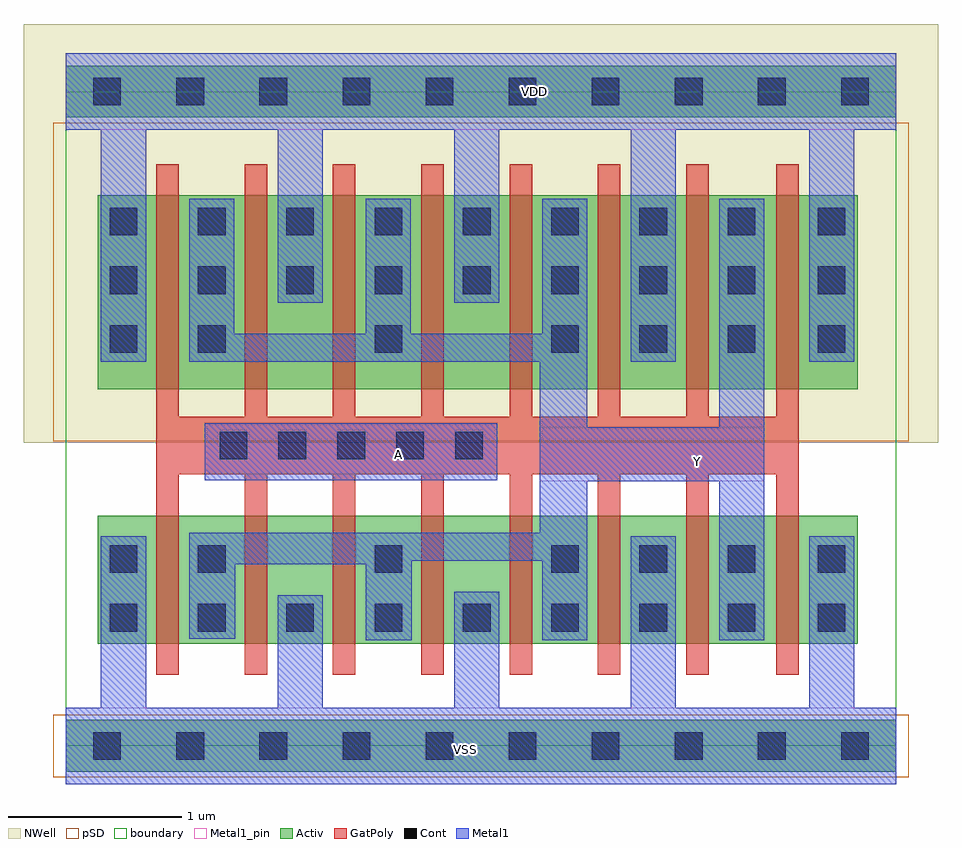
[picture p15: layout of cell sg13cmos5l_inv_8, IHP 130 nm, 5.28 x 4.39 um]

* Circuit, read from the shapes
.subckt sg13cmos5l_inv_8 A VDD VSS Y
XM1 Y A VSS VSS sg13_lv_nmos w=0.74u l=0.13u m=8
XM2 Y A VDD VDD sg13_lv_pmos w=1.12u l=0.13u m=8
.ends

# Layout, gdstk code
import gdstk
lib = gdstk.Library(unit=1e-6, precision=1e-09)
def R(c, l, rs):  # rectangles x0, y0, x1, y1
    for r in rs: c.add(gdstk.rectangle(r[:2], r[2:], *l))
def A(c, l, x, y, w, h, nx, ny, dx, dy):  # array of equal rectangles
    R(c, l, [(x+i*dx, y+j*dy, x+i*dx+w, y+j*dy+h) for i in range(nx) for j in range(ny)])
def P(c, l, *ps):  # polygons
    for p in ps: c.add(gdstk.Polygon(p, *l))
Activ = (1, 0)
GatPoly = (5, 0)
Cont = (6, 0)
Metal1 = (8, 0)
Metal1_pin = (8, 2)
pSD = (14, 0)
NWell = (31, 0)
boundary = (189, 4)

sg13cmos5l_inv_8 = lib.new_cell('sg13cmos5l_inv_8')
R(sg13cmos5l_inv_8, Activ, [(0,-0.15,4.8,0.15), (0.185,0.59,4.575,1.33), (0.185,2.06,4.575,3.18), (0,3.63,4.8,3.93)])
P(sg13cmos5l_inv_8, GatPoly, [(0.525,0.41),(0.525,3.36),(0.655,3.36),(0.655,1.9),(1.035,1.9),(1.035,3.36),(1.165,3.36),(1.165,1.9),(1.545,1.9),(1.545,3.36),(1.675,3.36),(1.675,1.9),(2.055,1.9),(2.055,3.36),(2.185,3.36),(2.185,1.9),(2.565,1.9),(2.565,3.36),(2.695,3.36),(2.695,1.9),(3.075,1.9),(3.075,3.36),(3.205,3.36),(3.205,1.9),(3.585,1.9),(3.585,3.36),(3.715,3.36),(3.715,1.9),(4.105,1.9),(4.105,3.36),(4.235,3.36),(4.235,0.41),(4.105,0.41),(4.105,1.57),(3.715,1.57),(3.715,0.41),(3.585,0.41),(3.585,1.57),(3.205,1.57),(3.205,0.41),(3.075,0.41),(3.075,1.57),(2.695,1.57),(2.695,0.41),(2.565,0.41),(2.565,1.57),(2.185,1.57),(2.185,0.41),(2.055,0.41),(2.055,1.57),(1.675,1.57),(1.675,0.41),(1.545,0.41),(1.545,1.57),(1.165,1.57),(1.165,0.41),(1.035,0.41),(1.035,1.57),(0.655,1.57),(0.655,0.41)])
A(sg13cmos5l_inv_8, Cont, 0.255, 0.66, 0.16, 0.16, 8, 2, 0.51, 1.95)
A(sg13cmos5l_inv_8, Cont, 0.765, 1, 0.16, 0.16, 3, 2, 1.02, 1.27)
A(sg13cmos5l_inv_8, Cont, 0.89, 1.655, 0.16, 0.16, 5, 1, 0.34, 0)
A(sg13cmos5l_inv_8, Cont, 4.345, 2.27, 0.16, 0.16, 1, 3, 0, 0.34)
A(sg13cmos5l_inv_8, Cont, 0.255, 2.95, 0.16, 0.16, 8, 1, 0.51, 0)
R(sg13cmos5l_inv_8, Cont, [(0.16,-0.08,0.32,0.08), (0.16,-0.08,0.32,0.08), (0.64,-0.08,0.8,0.08), (0.64,-0.08,0.8,0.08), (1.12,-0.08,1.28,0.08), (1.12,-0.08,1.28,0.08), (1.6,-0.08,1.76,0.08), (1.6,-0.08,1.76,0.08), (2.08,-0.08,2.24,0.08), (2.08,-0.08,2.24,0.08), (2.56,-0.08,2.72,0.08), (2.56,-0.08,2.72,0.08), (3.04,-0.08,3.2,0.08), (3.04,-0.08,3.2,0.08), (3.52,-0.08,3.68,0.08), (3.52,-0.08,3.68,0.08), (4,-0.08,4.16,0.08), (4,-0.08,4.16,0.08), (4.48,-0.08,4.64,0.08), (4.48,-0.08,4.64,0.08), (4.345,0.66,4.505,0.82), (0.255,1,0.415,1.16), (3.315,1,3.475,1.16), (3.825,1,3.985,1.16), (4.345,1,4.505,1.16), (0.255,2.27,0.415,2.43), (3.315,2.27,3.475,2.43), (3.825,2.27,3.985,2.43), (0.16,3.7,0.32,3.86), (0.16,3.7,0.32,3.86), (0.64,3.7,0.8,3.86), (0.64,3.7,0.8,3.86), (1.12,3.7,1.28,3.86), (1.12,3.7,1.28,3.86), (1.6,3.7,1.76,3.86), (1.6,3.7,1.76,3.86), (2.08,3.7,2.24,3.86), (2.08,3.7,2.24,3.86), (2.56,3.7,2.72,3.86), (2.56,3.7,2.72,3.86), (3.04,3.7,3.2,3.86), (3.04,3.7,3.2,3.86), (3.52,3.7,3.68,3.86), (3.52,3.7,3.68,3.86), (4,3.7,4.16,3.86), (4,3.7,4.16,3.86), (4.48,3.7,4.64,3.86), (4.48,3.7,4.64,3.86)])
R(sg13cmos5l_inv_8, Metal1, [(0.805,1.535,2.495,1.865)])
P(sg13cmos5l_inv_8, Metal1, [(0,-0.22),(0,0.22),(0.205,0.22),(0.205,1.21),(0.465,1.21),(0.465,0.22),(1.225,0.22),(1.225,0.87),(1.485,0.87),(1.485,0.22),(2.245,0.22),(2.245,0.89),(2.505,0.89),(2.505,0.22),(3.265,0.22),(3.265,1.21),(3.525,1.21),(3.525,0.22),(4.295,0.22),(4.295,1.21),(4.555,1.21),(4.555,0.22),(4.8,0.22),(4.8,-0.22)],
  [(0.205,2.22),(0.205,3.56),(0,3.56),(0,4),(4.8,4),(4.8,3.56),(4.555,3.56),(4.555,2.22),(4.295,2.22),(4.295,3.56),(3.525,3.56),(3.525,2.22),(3.265,2.22),(3.265,3.56),(2.505,3.56),(2.505,2.56),(2.245,2.56),(2.245,3.56),(1.485,3.56),(1.485,2.56),(1.225,2.56),(1.225,3.56),(0.465,3.56),(0.465,2.22)],
  [(1.735,0.61),(1.735,1.05),(0.98,1.05),(0.98,0.62),(0.715,0.62),(0.715,1.23),(2.74,1.23),(2.74,2.22),(0.715,2.22),(0.715,3.16),(0.975,3.16),(0.975,2.38),(1.735,2.38),(1.735,3.16),(1.995,3.16),(1.995,2.38),(2.755,2.38),(2.755,3.16),(3.015,3.16),(3.015,1.84),(3.775,1.84),(3.775,3.16),(4.035,3.16),(4.035,0.61),(3.775,0.61),(3.775,1.53),(3.015,1.53),(3.015,0.61),(2.755,0.61),(2.755,1.07),(2,1.07),(2,0.61)])
R(sg13cmos5l_inv_8, Metal1_pin, [(0,-0.22,4.8,0.22), (2.74,1.53,4.035,1.84), (0.805,1.57,2.495,1.865), (0,3.56,4.8,4)])
R(sg13cmos5l_inv_8, pSD, [(-0.07,-0.18,4.87,0.18), (-0.07,1.76,4.87,3.6)])
R(sg13cmos5l_inv_8, NWell, [(-0.24,1.75,5.04,4.17)])
R(sg13cmos5l_inv_8, boundary, [(0,0,4.8,3.78)])
sg13cmos5l_inv_8.add(gdstk.Label('Y', (3.65,1.64), layer=8, texttype=25))
sg13cmos5l_inv_8.add(gdstk.Label('A', (1.925,1.685), layer=8, texttype=25))
sg13cmos5l_inv_8.add(gdstk.Label('VSS', (2.31,-0.02), layer=8, texttype=25))
sg13cmos5l_inv_8.add(gdstk.Label('VDD', (2.71,3.78), layer=8, texttype=25))

lib.write_gds('sg13cmos5l_inv_8.gds')
